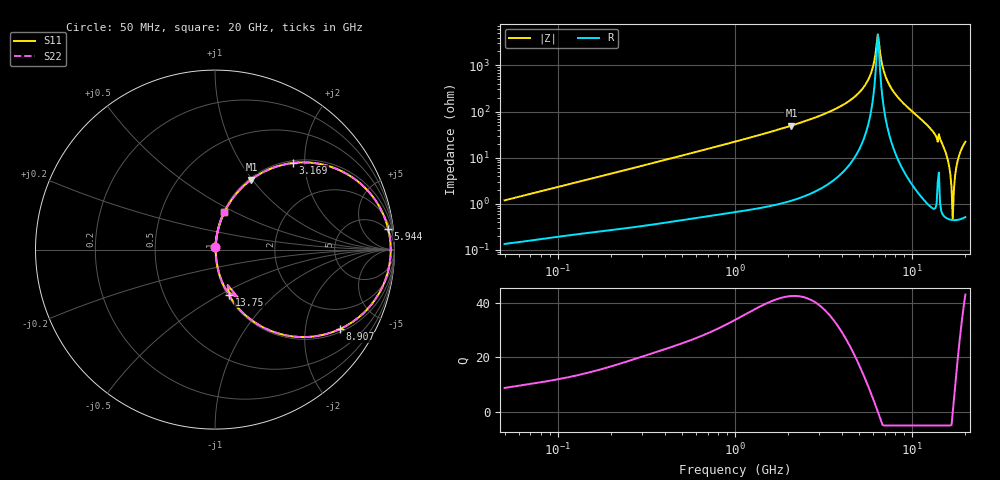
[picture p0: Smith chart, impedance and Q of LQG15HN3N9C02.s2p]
!Murata Part Number: LQG15HN3N9C02
!These Parameters are Measured in Series Mode Connection
!  o--[Z]--o
!Port1  Port2
!  o-------o
!Freq. Start=50[MHz] Stop=20[GHz], 401[Steps]
# Hz S RI R 50
!Freq.(Hz) S11(Real) S11(Imag) S21(Real) S21(Imag) S12(Real) S12(Imag) S22(Real) S22(Imag)
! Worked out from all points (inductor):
!   401 points, 50 MHz to 20 GHz, reference 50 ohm
!   read as one part in series: L = 3.72 nH near 51.52 MHz
!   highest Q = 42.4 at 2.083 GHz (marker M1), where L = 3.79 nH
!   self-resonance near 6.407 GHz
!   S11 on the Smith chart (normalised r, x): 50 MHz: 1.00, +0.02; 3.169 GHz: 1.05, +1.75; 5.944 GHz: 4, +16; 8.907 GHz: 1.11, -3.05; 13.75 GHz: 1.02, -0.55; 20 GHz: 1.01, +0.44
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5e7  0.00149 0.0118  0.9985 -0.0118  0.9985 -0.0118  0.00149 0.0118
1.364002e8  0.0032 0.0308  0.9968 -0.0308  0.9968 -0.0308  0.0032 0.0308
3.721004e8  0.0104 0.0814  0.9896 -0.0814  0.9896 -0.0814  0.0104 0.0814
1e9  0.0526 0.2088  0.9474 -0.2088  0.9474 -0.2088  0.0526 0.2088
2.083303e9  0.2028 0.3905  0.7972 -0.3905  0.7972 -0.3905  0.2028 0.3905
2.728004e9  0.3333 0.4593  0.6667 -0.4593  0.6667 -0.4593  0.3333 0.4593
3.168813e9  0.4351 0.4827  0.5649 -0.4827  0.5649 -0.4827  0.4351 0.4827
4.81993e9  0.8176 0.3616  0.1824 -0.3616  0.1824 -0.3616  0.8176 0.3616
5.515528e9  0.9264 0.2198  0.0736 -0.2198  0.0736 -0.2198  0.9264 0.2198
5.944466e9  0.9647 0.1168  0.0353 -0.1168  0.0353 -0.1168  0.9647 0.1168
6.406762e9  0.9791 0.00112  0.0209 -0.00112  0.0209 -0.00112  0.9791 0.00112
7.009217e9  0.9574 -0.1441  0.0426 0.1441  0.0426 0.1441  0.9574 -0.1441
7.442007e9  0.9177 -0.2372  0.0823 0.2372  0.0823 0.2372  0.9177 -0.2372
8.907419e9  0.6938 -0.4437  0.3062 0.4437  0.3062 0.4437  0.6938 -0.4437
1.098561e10  0.3528 -0.4671  0.6472 0.4671  0.6472 0.4671  0.3528 -0.4671
1.375312e10  0.078 -0.2504  0.922 0.2504  0.922 0.2504  0.078 -0.2504
1.550395e10  0.0206 -0.1235  0.9794 0.1235  0.9794 0.1235  0.0206 -0.1235
1.646126e10  0.00624 -0.0416  0.9938 0.0416  0.9938 0.0416  0.00624 -0.0416
1.696185e10  0.00441 -0.00104  0.9956 0.00104  0.9956 0.00104  0.00441 -0.00104
1.747767e10  0.00593 0.0391  0.9941 -0.0391  0.9941 -0.0391  0.00593 0.0391
1.828096e10  0.0142 0.098  0.9858 -0.098  0.9858 -0.098  0.0142 0.098
2e10  0.0512 0.2091  0.9488 -0.2091  0.9488 -0.2091  0.0512 0.2091
